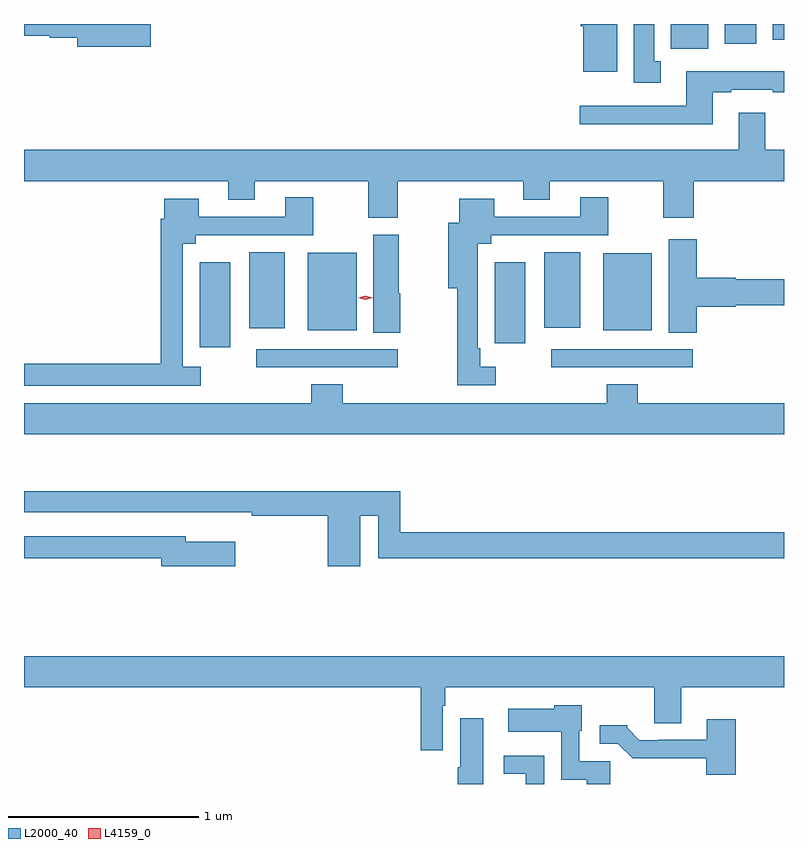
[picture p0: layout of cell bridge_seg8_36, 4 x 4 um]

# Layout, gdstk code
import gdstk
lib = gdstk.Library(unit=1e-6, precision=1e-09)
def R(c, l, rs):  # rectangles x0, y0, x1, y1
    for r in rs: c.add(gdstk.rectangle(r[:2], r[2:], *l))
def P(c, l, *ps):  # polygons
    for p in ps: c.add(gdstk.Polygon(p, *l))
L2000_40 = (2000, 40)
L4159_0 = (4159, 0)

bridge_seg8_36 = lib.new_cell('bridge_seg8_36')
R(bridge_seg8_36, L2000_40, [(1036.749,1128.84,1037.494,1128.936), (1038.303,1128.84,1039.048,1128.936), (1036.451,1128.945,1036.612,1129.393), (1038.005,1128.966,1038.166,1129.393), (1037.021,1129.034,1037.278,1129.444), (1038.575,1129.034,1038.832,1129.441), (1036.712,1129.046,1036.9,1129.447), (1038.266,1129.049,1038.454,1129.447), (1038.932,1130.516,1039.129,1130.647), (1039.214,1130.544,1039.381,1130.647), (1039.469,1130.564,1039.527,1130.647)])
P(bridge_seg8_36, L2000_40, [(1038.649,1130.647),(1038.458,1130.647),(1038.458,1130.636),(1038.47,1130.636),(1038.47,1130.396),(1038.649,1130.396)],
  [(1036.195,1130.647),(1035.527,1130.647),(1035.527,1130.586),(1035.663,1130.586),(1035.663,1130.575),(1035.806,1130.575),(1035.806,1130.528),(1036.195,1130.528)],
  [(1038.877,1130.45),(1038.844,1130.45),(1038.844,1130.647),(1038.737,1130.647),(1038.737,1130.337),(1038.877,1130.337)],
  [(1039.153,1130.289),(1039.249,1130.289),(1039.249,1130.301),(1039.469,1130.301),(1039.469,1130.289),(1039.527,1130.289),(1039.527,1130.398),(1039.013,1130.398),(1039.013,1130.217),(1038.453,1130.217),(1038.453,1130.12),(1039.153,1130.12)],
  [(1037.493,1129.82),(1038.155,1129.82),(1038.155,1129.721),(1038.295,1129.721),(1038.295,1129.82),(1038.892,1129.82),(1038.892,1129.626),(1039.052,1129.626),(1039.052,1129.82),(1039.527,1129.82),(1039.527,1129.984),(1039.429,1129.984),(1039.429,1130.179),(1039.289,1130.179),(1039.289,1129.984),(1035.527,1129.984),(1035.527,1129.82),(1036.601,1129.82),(1036.601,1129.721),(1036.741,1129.721),(1036.741,1129.82),(1037.338,1129.82),(1037.338,1129.626),(1037.493,1129.626)],
  [(1038.01,1128.843),(1037.928,1128.843),(1037.928,1128.94),(1037.916,1128.94),(1037.916,1129.49),(1037.986,1129.49),(1037.986,1129.536),(1038.603,1129.536),(1038.603,1129.735),(1038.455,1129.735),(1038.455,1129.632),(1038.001,1129.632),(1038.001,1129.726),(1037.819,1129.726),(1037.819,1129.6),(1037.759,1129.6),(1037.759,1129.256),(1037.808,1129.256),(1037.808,1128.747),(1038.01,1128.747)],
  [(1036.456,1128.844),(1036.362,1128.844),(1036.362,1129.49),(1036.432,1129.49),(1036.432,1129.536),(1037.049,1129.536),(1037.049,1129.735),(1036.901,1129.735),(1036.901,1129.632),(1036.447,1129.632),(1036.447,1129.726),(1036.265,1129.726),(1036.265,1129.622),(1036.246,1129.622),(1036.246,1128.86),(1035.527,1128.86),(1035.527,1128.744),(1036.456,1128.744)],
  [(1037.507,1129.229),(1037.5,1129.229),(1037.5,1129.537),(1037.366,1129.537),(1037.366,1129.021),(1037.507,1129.021)],
  [(1039.067,1129.16),(1039.272,1129.16),(1039.272,1129.168),(1039.527,1129.168),(1039.527,1129.304),(1039.272,1129.304),(1039.272,1129.312),(1039.067,1129.312),(1039.067,1129.513),(1038.92,1129.513),(1038.92,1129.021),(1039.067,1129.021)],
  [(1039.527,1128.652),(1038.757,1128.652),(1038.757,1128.751),(1038.593,1128.751),(1038.593,1128.652),(1037.204,1128.652),(1037.204,1128.751),(1037.039,1128.751),(1037.039,1128.652),(1035.527,1128.652),(1035.527,1128.488),(1039.527,1128.488)],
  [(1037.296,1128.058),(1037.391,1128.058),(1037.391,1127.836),(1039.527,1127.836),(1039.527,1127.972),(1037.507,1127.972),(1037.507,1128.187),(1035.527,1128.187),(1035.527,1128.078),(1036.474,1128.078),(1036.474,1128.077),(1036.726,1128.077),(1036.726,1128.058),(1037.126,1128.058),(1037.126,1127.793),(1037.296,1127.793)],
  [(1036.639,1127.923),(1036.378,1127.923),(1036.378,1127.952),(1035.527,1127.952),(1035.527,1127.836),(1036.25,1127.836),(1036.25,1127.794),(1036.639,1127.794)],
  [(1037.73,1127.06),(1037.743,1127.06),(1037.743,1127.156),(1038.845,1127.156),(1038.845,1126.966),(1038.985,1126.966),(1038.985,1127.156),(1039.527,1127.156),(1039.527,1127.32),(1035.527,1127.32),(1035.527,1127.156),(1037.614,1127.156),(1037.614,1126.824),(1037.73,1126.824)],
  [(1038.613,1126.767),(1038.45,1126.767),(1038.45,1126.926),(1038.463,1126.926),(1038.463,1127.062),(1038.318,1127.062),(1038.318,1127.044),(1038.075,1127.044),(1038.075,1126.922),(1038.354,1126.922),(1038.354,1126.67),(1038.488,1126.67),(1038.488,1126.647),(1038.613,1126.647)],
  [(1037.944,1126.993),(1037.822,1126.993),(1037.822,1126.736),(1037.81,1126.736),(1037.81,1126.647),(1037.944,1126.647)],
  [(1039.274,1126.987),(1039.121,1126.987),(1039.121,1126.881),(1038.865,1126.881),(1038.865,1126.878),(1038.766,1126.878),(1038.702,1126.942),(1038.702,1126.957),(1038.558,1126.957),(1038.558,1126.86),(1038.651,1126.86),(1038.73,1126.782),(1039.119,1126.782),(1039.119,1126.697),(1039.274,1126.697)],
  [(1038.264,1126.797),(1038.051,1126.797),(1038.051,1126.701),(1038.168,1126.701),(1038.168,1126.647),(1038.264,1126.647)])
P(bridge_seg8_36, L4159_0, [(1037.323,1129.197),(1037.285,1129.207),(1037.285,1129.207),(1037.285,1129.207),(1037.324,1129.216),(1037.362,1129.206),(1037.362,1129.206),(1037.362,1129.206)])

lib.write_gds('bridge_seg8_36.gds')
